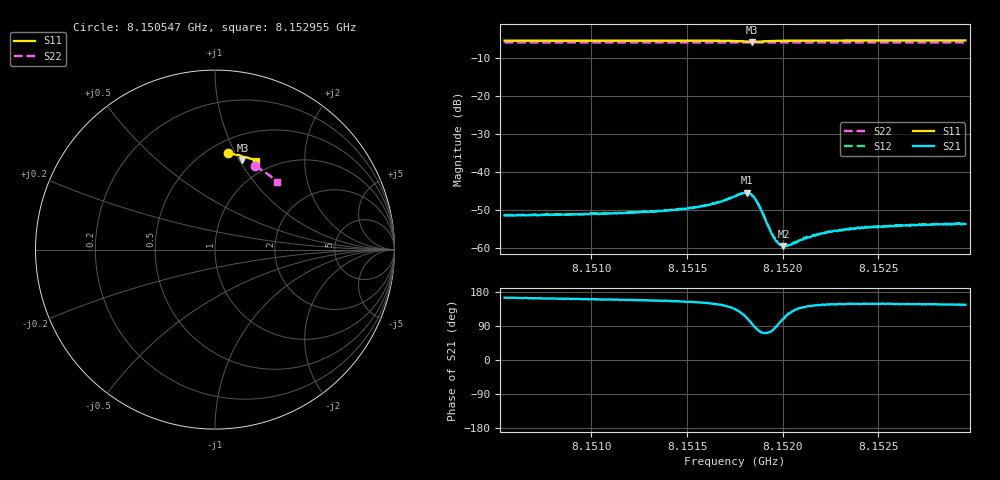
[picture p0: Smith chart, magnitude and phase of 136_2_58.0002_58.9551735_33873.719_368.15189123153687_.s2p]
#  HZ  S  RI  R  50.00
! Rohde & Schwarz Vector Network Analyzer
! Rohde-Schwarz,ZNB20-2Port,1311601062101988,3.16
! Created: UTC 3/21/2024, 12:56:19 AM
! freq[Hz]  re:S11  im:S11  re:S21  im:S21  re:S12  im:S12  re:S22  im:S22
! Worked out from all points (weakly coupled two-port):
!   401 points, 8.150547 GHz to 8.152955 GHz, reference 50 ohm
!   highest |S21| = -45.33 dB at 8.151811 GHz (marker M1); lowest = -59.4 dB at 8.152004 GHz (marker M2)
!   lowest |S11| = -5.6 dB at 8.151841 GHz (marker M3), VSWR 3.19, Z = 37.6 + j51.7 ohm
!   |S11| at or under -10 dB: nowhere
!   |S22| runs from -5.8 to -5.8 dB; largest |S21 - S12| = 0.00013
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8.1505467e9  0.0706 0.5371  -0.00262 0.000733  -0.00262 0.000781  0.2211 0.465
8.1509501e9  0.099 0.5332  -0.00266 0.000918  -0.00265 0.000972  0.2441 0.4528
8.1513534e9  0.1277 0.5274  -0.00284 0.00124  -0.00285 0.0013  0.2665 0.4396
8.1514798e9  0.1372 0.5249  -0.00297 0.00142  -0.00297 0.00146  0.2731 0.435
8.1515882e9  0.1459 0.5219  -0.00316 0.00177  -0.00318 0.00182  0.279 0.4311
8.1516845e9  0.1543 0.5175  -0.00341 0.0024  -0.00341 0.00248  0.2843 0.4273
8.1517507e9  0.1597 0.5114  -0.00337 0.00347  -0.00337 0.00355  0.2876 0.425
8.1517868e9  0.1604 0.5058  -0.00285 0.00443  -0.00283 0.00447  0.2893 0.4233
8.1518109e9  0.1585 0.5019  -0.00201 0.00503  -0.00195 0.00504  0.2904 0.4225
8.151841e9  0.1528 0.4998  -0.000393 0.00493  -0.000346 0.00495  0.2917 0.4213
8.1518711e9  0.1482 0.5038  0.00074 0.00378  0.000812 0.0038  0.2931 0.4205
8.1519373e9  0.152 0.5134  0.000457 0.0016  0.000415 0.00163  0.2966 0.4183
8.1519554e9  0.1541 0.5144  0.000186 0.00137  0.000184 0.00138  0.2977 0.4176
8.1519795e9  0.1569 0.5154  -0.000123 0.00115  -9.73e-05 0.00117  0.299 0.4168
8.1520036e9  0.1595 0.5158  -0.000346 0.00102  -0.000312 0.00104  0.3003 0.4159
8.1520337e9  0.1627 0.5159  -0.000579 0.000929  -0.000566 0.000943  0.3018 0.4147
8.1521119e9  0.1699 0.5151  -0.00102 0.000875  -0.00104 0.00093  0.3059 0.4117
8.1521541e9  0.1733 0.5144  -0.00116 0.000872  -0.00115 0.000915  0.308 0.41
8.1522504e9  0.1808 0.5126  -0.00138 0.000897  -0.00137 0.000914  0.3129 0.4062
8.1523286e9  0.1865 0.5109  -0.00149 0.000942  -0.0015 0.000969  0.3168 0.4029
8.1525574e9  0.2024 0.5054  -0.00168 0.00102  -0.00166 0.00106  0.328 0.3936
8.1529547e9  0.2287 0.4949  -0.00173 0.00117  -0.00173 0.0012  0.3467 0.3763
